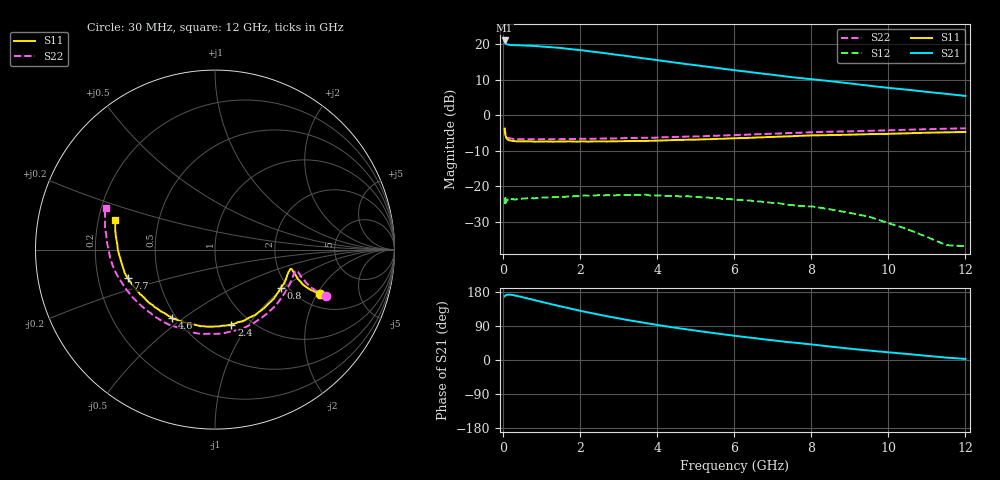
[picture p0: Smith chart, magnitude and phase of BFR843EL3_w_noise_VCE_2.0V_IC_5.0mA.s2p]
! Infineon Technologies  Discrete & RF Semiconductors
! BFR843EL3
! VCE =  2.0 V,  IC =  5.0 mA
! Common Emitter S-Parameters:  Aug 2013
# GHz  S  MA  R  50
!  f  S11  S21  S12  S22
! GHz  MAG  ANG  MAG  ANG  MAG  ANG  MAG  ANG
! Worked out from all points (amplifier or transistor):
!   103 points, 30 MHz to 12 GHz, reference 50 ohm
!   highest |S21| = 21.0 dB at 30 MHz (marker M1)
!   |S21| within 3 dB of that: start of sweep to 2.198 GHz
!   unconditionally stable (mu >= 1): 281.5 MHz to 346.1 MHz; 6.485 GHz to end of sweep
!   at 400 MHz: K = 1.00, MSG = 21.7 dB, |S12| = -23.7 dB
!   at 3.7 GHz: K = 0.77, MSG = 19.2 dB, |S12| = -22.4 dB
!   at 12 GHz: K = 6.93, MAG = 9.8 dB, |S12| = -36.9 dB
!   lowest NFmin = 0.89 dB at 450 MHz
!   S11 on the Smith chart (normalised r, x): 30 MHz: 2.55, -2.13; 800 MHz: 1.84, -0.95; 2.4 GHz: 0.82, -0.84; 4.6 GHz: 0.48, -0.45; 7.7 GHz: 0.33, -0.14; 12 GHz: 0.27, +0.14
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0.03  0.6364 -23.0  11.28 168.2  0.0559 34.5  0.6713 -22.5
0.04  0.5723 -22.8  10.78 169.0  0.0576 28.4  0.6059 -22.1
0.07  0.4862 -19.3  10.1 171.3  0.0631 16.2  0.5194 -18.4
0.1  0.4587 -16.4  9.897 172.4  0.0643 11.9  0.4916 -16.2
0.15  0.4433 -14.4  9.755 172.7  0.0669 7.7  0.4739 -14.5
0.45  0.4268 -19.5  9.633 166.9  0.0659 4.0  0.4574 -20.6
0.8  0.4237 -30.0  9.429 158.0  0.0675 3.5  0.4574 -32.0
1.2  0.4248 -43.0  9.093 148.3  0.0696 2.0  0.4585 -46.0
1.5  0.4256 -52.3  8.829 141.2  0.0706 0.8  0.4602 -55.6
2.1  0.4278 -69.4  8.112 127.6  0.0743 -0.4  0.4649 -74.1
2.4  0.4277 -77.6  7.747 121.3  0.0742 -2.5  0.4668 -82.3
3.1  0.4302 -93.8  6.935 107.9  0.0752 -6.5  0.4739 -99.1
3.5  0.4336 -102.3  6.469 100.7  0.0757 -9.6  0.4776 -107.9
4.1  0.4399 -113.4  5.851 90.8  0.0737 -13.1  0.4867 -118.8
4.6  0.4487 -122.2  5.376 83.2  0.0715 -15.7  0.4967 -127.8
5.1  0.4552 -130.0  4.97 75.9  0.07 -19.3  0.5035 -135.3
6.1  0.475 -143.5  4.236 62.8  0.0641 -23.9  0.5276 -148.7
6.9  0.493 -153.2  3.759 53.0  0.0588 -27.9  0.546 -158.2
7.7  0.5122 -162.1  3.341 44.3  0.0529 -29.9  0.5669 -166.7
8.5  0.5244 -170.8  3.007 35.3  0.0471 -36.4  0.5854 -175.1
10.5  0.5561 172.8  2.283 15.8  0.0247 -35.2  0.6248 168.7
12  0.5804 163.3  1.867 2.8  0.0143 17.1  0.653 159.1
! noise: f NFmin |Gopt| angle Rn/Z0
0.45  0.89  0.18  11  0.17
0.9  0.9  0.19  27  0.16
1.5  0.94  0.2  42  0.15
1.9  0.96  0.2  45  0.15
2.4  0.98  0.21  58  0.14
3.5  1.03  0.21  79  0.14
5.5  1.12  0.25  116  0.11
8  1.22  0.33  157  0.08
10  1.3  0.42  204  0.05
